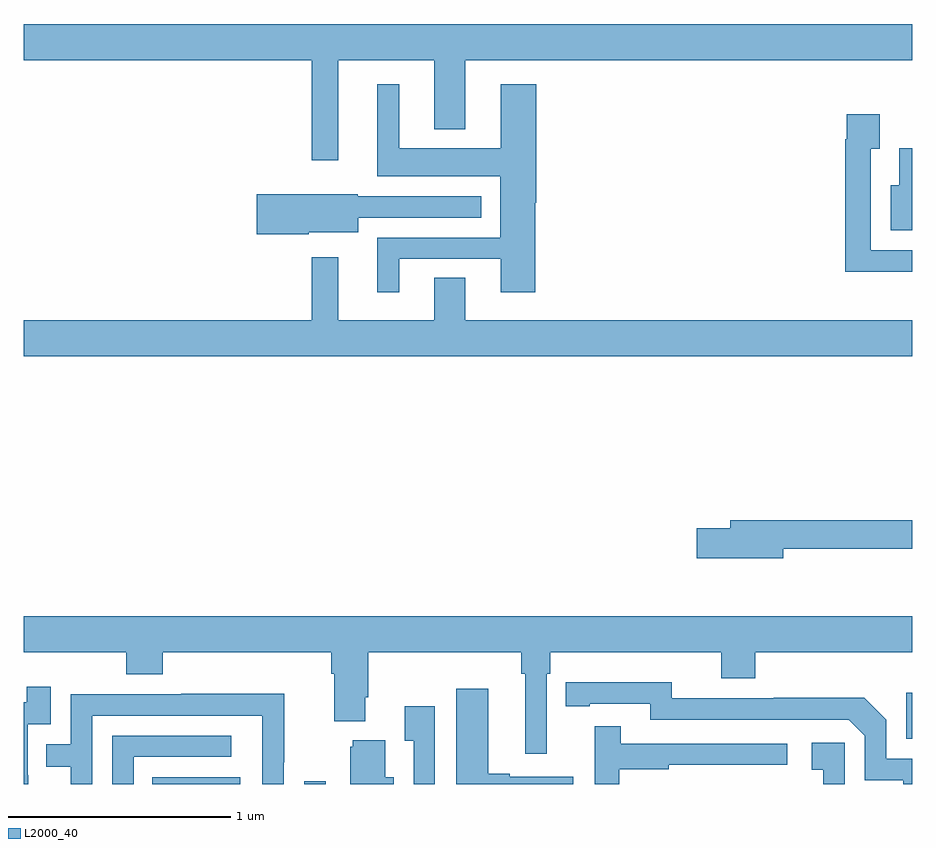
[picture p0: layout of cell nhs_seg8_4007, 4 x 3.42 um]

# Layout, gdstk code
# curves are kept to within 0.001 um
import gdstk
lib = gdstk.Library(unit=1e-6, precision=1e-09)
def R(c, l, rs):  # rectangles x0, y0, x1, y1
    for r in rs: c.add(gdstk.rectangle(r[:2], r[2:], *l))
def P(c, l, *ps):  # polygons
    for p in ps: c.add(gdstk.Polygon(p, *l))
L2000_40 = (2000, 40)

nhs_seg8_4007 = lib.new_cell('nhs_seg8_4007')
R(nhs_seg8_4007, L2000_40, [(357.58,1123.9,357.976,1123.93), (358.263,1123.9,358.359,1123.912), (360.972,1124.103,361,1124.311)])
P(nhs_seg8_4007, L2000_40, [(358.417,1127.156),(358.847,1127.156),(358.847,1126.847),(358.987,1126.847),(358.987,1127.156),(361,1127.156),(361,1127.32),(357,1127.32),(357,1127.156),(358.296,1127.156),(358.296,1126.707),(358.417,1126.707)],
  [(358.69,1126.263),(359.147,1126.263),(359.147,1126.113),(359.303,1126.113),(359.303,1126.515),(359.308,1126.515),(359.308,1127.05),(359.147,1127.05),(359.147,1126.762),(358.69,1126.762),(358.69,1127.05),(358.592,1127.05),(358.592,1126.634),(359.144,1126.634),(359.144,1126.359),(358.592,1126.359),(358.592,1126.113),(358.69,1126.113)],
  [(360.989,1126.206),(361,1126.206),(361,1126.302),(360.813,1126.302),(360.813,1126.759),(360.853,1126.759),(360.853,1126.915),(360.705,1126.915),(360.705,1126.802),(360.697,1126.802),(360.697,1126.205),(360.989,1126.205)],
  [(361,1126.762),(360.941,1126.762),(360.941,1126.594),(360.902,1126.594),(360.902,1126.391),(361,1126.391)],
  [(358.284,1126.382),(358.507,1126.382),(358.507,1126.449),(359.059,1126.449),(359.059,1126.545),(358.503,1126.545),(358.503,1126.553),(358.05,1126.553),(358.05,1126.375),(358.284,1126.375)],
  [(361,1125.988),(358.987,1125.988),(358.987,1126.178),(358.847,1126.178),(358.847,1125.988),(358.417,1125.988),(358.417,1126.27),(358.296,1126.27),(358.296,1125.988),(357,1125.988),(357,1125.824),(361,1125.824)],
  [(360.418,1124.958),(361,1124.958),(361,1125.086),(360.179,1125.086),(360.179,1125.05),(360.03,1125.05),(360.03,1124.915),(360.418,1124.915)],
  [(359.355,1124.396),(359.369,1124.396),(359.369,1124.492),(360.14,1124.492),(360.14,1124.375),(360.293,1124.375),(360.293,1124.492),(361,1124.492),(361,1124.656),(357,1124.656),(357,1124.492),(357.461,1124.492),(357.461,1124.393),(357.626,1124.393),(357.626,1124.492),(358.385,1124.492),(358.385,1124.396),(358.397,1124.396),(358.397,1124.183),(358.537,1124.183),(358.537,1124.29),(358.55,1124.29),(358.55,1124.492),(359.239,1124.492),(359.239,1124.396),(359.258,1124.396),(359.258,1124.037),(359.355,1124.037)],
  [(361,1124.013),(360.882,1124.013),(360.882,1124.19),(360.784,1124.288),(360.376,1124.288),(360.376,1124.286),(359.916,1124.286),(359.916,1124.359),(359.44,1124.358),(359.44,1124.25),(359.548,1124.25),(359.548,1124.262),(359.82,1124.262),(359.82,1124.19),(360.714,1124.19),(360.786,1124.118),(360.786,1123.917),(360.959,1123.917),(360.959,1123.9),(361,1123.9)],
  [(357.02,1123.94),(357.018,1123.94),(357.018,1124.169),(357.123,1124.169),(357.123,1124.338),(357.015,1124.338),(357.015,1124.268),(357,1124.268),(357,1123.9),(357.02,1123.9)],
  [(359.473,1123.933),(359.188,1123.933),(359.188,1123.946),(359.092,1123.946),(359.092,1124.329),(358.946,1124.329),(358.946,1123.9),(359.473,1123.9)],
  [(357.309,1124.208),(358.073,1124.208),(358.073,1123.954),(358.074,1123.954),(358.074,1123.9),(358.17,1123.9),(358.17,1123.999),(358.173,1123.999),(358.173,1124.306),(357.709,1124.306),(357.709,1124.304),(357.213,1124.304),(357.213,1124.079),(357.103,1124.079),(357.103,1123.978),(357.213,1123.978),(357.213,1123.9),(357.309,1123.9)],
  [(358.851,1124.251),(358.715,1124.251),(358.715,1124.095),(358.755,1124.095),(358.755,1123.9),(358.851,1123.9)],
  [(359.68,1123.966),(359.903,1123.966),(359.903,1123.986),(360.436,1123.986),(360.436,1124.082),(359.687,1124.082),(359.687,1124.161),(359.571,1124.161),(359.571,1123.9),(359.68,1123.9)],
  [(357.495,1124.022),(357.934,1124.022),(357.934,1124.118),(357.399,1124.118),(357.399,1123.9),(357.495,1123.9)],
  [(358.666,1123.93),(358.627,1123.93),(358.627,1124.098),(358.481,1124.098),(358.481,1124.067),(358.469,1124.067),(358.469,1123.9),(358.666,1123.9)],
  [(360.696,1124.086),(360.546,1124.086),(360.546,1123.965),(360.599,1123.965),(360.599,1123.9),(360.696,1123.9)])

lib.write_gds('nhs_seg8_4007.gds')
